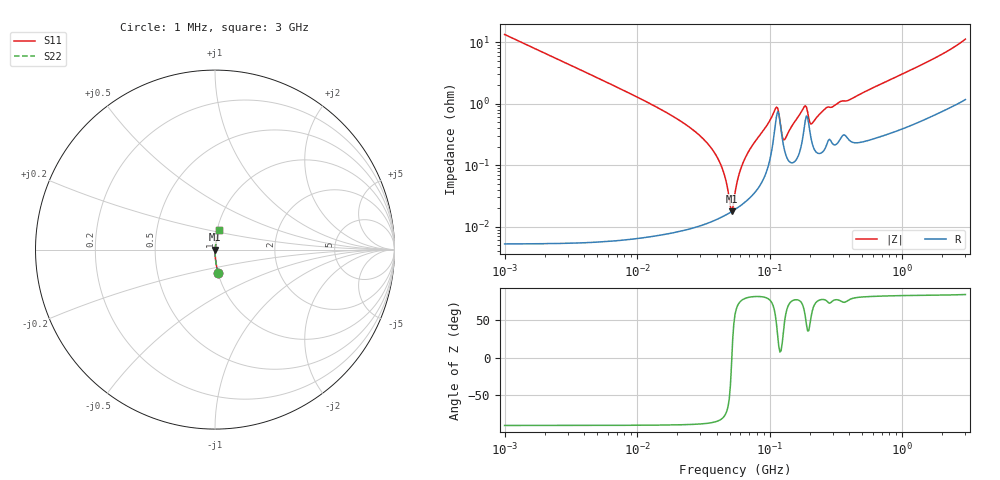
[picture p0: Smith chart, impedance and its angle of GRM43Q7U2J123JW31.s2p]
!Murata Part Number: GRM43Q7U2J123JW31
!These Parameters are Measured in Series Mode Connection
!Data Generated on Mar 30, 2021
!  o--ll--o
!Port1  Port2
!  o------o
!Operation Temp=25[degC], DC Bias Voltage=0[V]
!Freq. Start=1000[kHz] Stop=3[GHz] 401[Steps]
# Hz S RI R 50
!Freq.(Hz) S11(Real) S11(Imag) S21(Real) S21(Imag) S12(Real) S12(Imag) S22(Real) S22(Imag)
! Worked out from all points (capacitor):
!   401 points, 1 MHz to 3 GHz, reference 50 ohm
!   read as one part in series: C = 12 nF near 1.041 MHz
!   lowest |Z| = 17.8 mohm at 51.58 MHz (marker M1)
!   series resonance near 51.82 MHz, so ESL is about 790 pH
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1000000  0.0173 -0.1303  0.9827 0.1303  0.9827 0.1303  0.0173 -0.1303
3823119  0.00124 -0.0345  0.9988 0.0345  0.9988 0.0345  0.00124 -0.0345
1.461624e7  0.000142 -0.00836  0.9999 0.00836  0.9999 0.00836  0.000142 -0.00836
2.559966e7  0.000109 -0.00394  0.9999 0.00394  0.9999 0.00394  0.000109 -0.00394
3.597591e7  0.000123 -0.00194  0.9999 0.00194  0.9999 0.00194  0.000123 -0.00194
4.394807e7  0.000146 -0.000869  0.9999 0.000869  0.9999 0.000869  0.000146 -0.000869
4.666789e7  0.000156 -0.000553  0.9998 0.000553  0.9998 0.000553  0.000156 -0.000553
5.055794e7  0.000171 -0.000131  0.9998 0.000131  0.9998 0.000131  0.000171 -0.000131
5.15801e7  0.000176 -2.5e-05  0.9998 2.5e-05  0.9998 2.5e-05  0.000176 -2.5e-05
5.262293e7  0.000181 8.15e-05  0.9998 -8.15e-05  0.9998 -8.15e-05  0.000181 8.15e-05
5.477226e7  0.000191 0.000296  0.9998 -0.000296  0.9998 -0.000296  0.000191 0.000296
5.933786e7  0.000215 0.000734  0.9998 -0.000734  0.9998 -0.000734  0.000215 0.000734
6.558369e7  0.000256 0.00131  0.9997 -0.00131  0.9997 -0.00131  0.000256 0.00131
1.103592e8  0.00453 0.0068  0.9955 -0.0068  0.9955 -0.0068  0.00453 0.0068
1.148668e8  0.00735 0.00414  0.9927 -0.00414  0.9927 -0.00414  0.00735 0.00414
1.244416e8  0.00275 0.000975  0.9972 -0.000975  0.9972 -0.000975  0.00275 0.000975
1.295243e8  0.00175 0.00191  0.9983 -0.00191  0.9983 -0.00191  0.00175 0.00191
1.820241e8  0.00396 0.00786  0.996 -0.00786  0.996 -0.00786  0.00396 0.00786
2.094008e8  0.00228 0.00419  0.9977 -0.00419  0.9977 -0.00419  0.00228 0.00419
2.662515e8  0.00208 0.00819  0.9979 -0.00819  0.9979 -0.00819  0.00208 0.00819
8.005644e8  0.0038 0.0237  0.9962 -0.0237  0.9962 -0.0237  0.0038 0.0237
3e9  0.0232 0.1069  0.9768 -0.1069  0.9768 -0.1069  0.0232 0.1069
